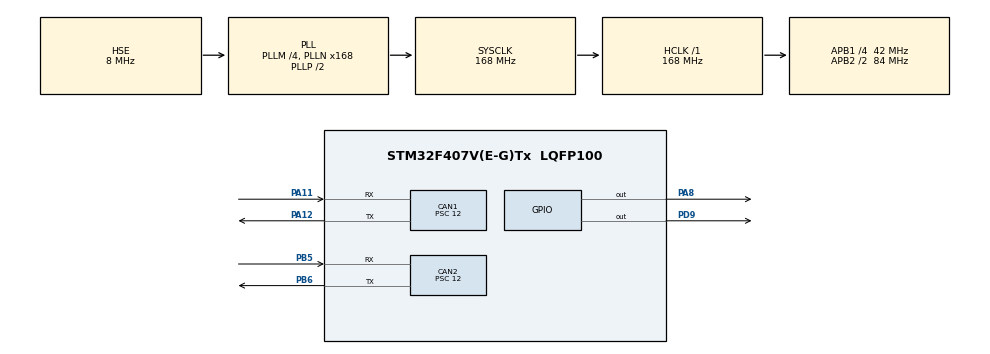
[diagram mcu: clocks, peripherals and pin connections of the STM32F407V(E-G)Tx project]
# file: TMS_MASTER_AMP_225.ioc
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CAN1.BS1=CAN_BS1_3TQ
CAN1.BS2=CAN_BS2_3TQ
CAN1.CalculateBaudRate=500000
CAN1.CalculateTimeBit=2000
CAN1.CalculateTimeQuantum=285.7142857142857
CAN1.Prescaler=12
CAN2.BS1=CAN_BS1_3TQ
CAN2.BS2=CAN_BS2_3TQ
CAN2.CalculateBaudRate=500000
CAN2.CalculateTimeBit=2000
CAN2.CalculateTimeQuantum=285.7142857142857
CAN2.Prescaler=12
Mcu.Family=STM32F4
Mcu.Name=STM32F407V(E-G)Tx
Mcu.Package=LQFP100
NVIC.CAN1_RX0_IRQn=true\:0\:0\:false\:false\:true\:true\:true\:true
NVIC.CAN2_TX_IRQn=true\:0\:0\:false\:false\:true\:true\:true\:true
NVIC.PriorityGroup=NVIC_PRIORITYGROUP_4
PA11.Mode=CAN_Activate
PA11.Signal=CAN1_RX
PA12.Mode=CAN_Activate
PA12.Signal=CAN1_TX
PA13.Mode=Serial_Wire
PA13.Signal=SYS_JTMS-SWDIO
PA14.Mode=Serial_Wire
PA14.Signal=SYS_JTCK-SWCLK
PA8.Signal=GPIO_Output
PB5.Mode=CAN_Activate
PB5.Signal=CAN2_RX
PB6.Mode=CAN_Activate
PB6.Signal=CAN2_TX
PC14-OSC32_IN.Mode=LSE-External-Oscillator
PC14-OSC32_IN.Signal=RCC_OSC32_IN
PC15-OSC32_OUT.Mode=LSE-External-Oscillator
PC15-OSC32_OUT.Signal=RCC_OSC32_OUT
PD9.Signal=GPIO_Output
PH0-OSC_IN.Mode=HSE-External-Oscillator
PH0-OSC_IN.Signal=RCC_OSC_IN
PH1-OSC_OUT.Mode=HSE-External-Oscillator
PH1-OSC_OUT.Signal=RCC_OSC_OUT
ProjectManager.HeapSize=0x200
ProjectManager.StackSize=0x400
ProjectManager.TargetToolchain=STM32CubeIDE
RCC.48MHZClocksFreq_Value=84000000
RCC.AHBFreq_Value=168000000
RCC.APB1CLKDivider=RCC_HCLK_DIV4
RCC.APB1Freq_Value=42000000
RCC.APB1TimFreq_Value=84000000
RCC.APB2CLKDivider=RCC_HCLK_DIV2
RCC.APB2Freq_Value=84000000
RCC.APB2TimFreq_Value=168000000
RCC.CortexFreq_Value=168000000
RCC.HCLKFreq_Value=168000000
RCC.HSE_VALUE=8000000
RCC.HSI_VALUE=16000000
RCC.PLLM=4
RCC.PLLN=168
RCC.PLLSourceVirtual=RCC_PLLSOURCE_HSE
RCC.SYSCLKFreq_VALUE=168000000
RCC.SYSCLKSource=RCC_SYSCLKSOURCE_PLLCLK
RCC.VCOOutputFreq_Value=336000000
TIM3.AutoReloadPreload=TIM_AUTORELOAD_PRELOAD_ENABLE
TIM3.Period=1000
TIM3.Prescaler=4200
VP_TIM3_VS_ClockSourceINT.Mode=Internal
board=custom

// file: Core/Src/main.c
/* USER CODE BEGIN Header */
/**
  ******************************************************************************
  * @file           : main.c
  * @brief          : Main program body
  ******************************************************************************
  * @attention
  *
  * Copyright (c) 2025 STMicroelectronics.
  * All rights reserved.
  *
  * This software is licensed under terms that can be found in the LICENSE file
  * in the root directory of this software component.
  * If no LICENSE file comes with this software, it is provided AS-IS.
  *
  ******************************************************************************
  */
/* USER CODE END Header */
#include "main.h"

/* USER CODE BEGIN PD */
#define heartbeatID 0x1
#define connectionFail1 1
#define connectionFail2 2
#define connectionFail3 3
#define connectionFail4 4
#define tempFail 5
#define commTimeOut 1000
#define commFail 6
/* USER CODE END PD */

CAN_HandleTypeDef hcan1;
CAN_HandleTypeDef hcan2;

TIM_HandleTypeDef htim3;

/* USER CODE BEGIN PV */
float tempBuffer[4];
float maxTemp = 0;
int timerFlag = 0, fail = 0;
uint32_t lastHeartbeatTime1 = 0, lastHeartbeatTime2 = 0, lastHeartbeatTime3 = 0, lastHeartbeatTime4 = 0;
/* USER CODE END PV */

void SystemClock_Config(void);
static void MX_GPIO_Init(void);
static void MX_CAN1_Init(void);
static void MX_CAN2_Init(void);
static void MX_TIM3_Init(void);
/* USER CODE BEGIN PFP */
float maxVal(float *buffer, int size);
void checkTemp(void);
void HAL_TIM_PeriodElapsedCallback(TIM_HandleTypeDef *htim);
void HAL_CAN_RxFifo0MsgPendingCallback(CAN_HandleTypeDef *hcan);
void checkCommunication(void);
/* USER CODE END PFP */

/* USER CODE BEGIN 0 */
/*CAN1 CONFIGURATION*/ //CAN 1 COMUNICA COM AS SLAVES

CAN_TxHeaderTypeDef tx1Header;
CAN_RxHeaderTypeDef rx1Header;
uint32_t tx1Mailbox;
uint8_t tx1Data[1];
uint8_t rx1Data[8];

/*CAN2 CONFIGURATION*/ //CAN 2 COMUNICA COM O PWT

CAN_TxHeaderTypeDef tx2Header;
uint32_t tx2Mailbox;
uint8_t tx2Data[2];

/* USER CODE END 0 */

int main(void)
{

  /* MCU Configuration--------------------------------------------------------*/

  /* Reset of all peripherals, Initializes the Flash interface and the Systick. */
  HAL_Init();

  /* Configure the system clock */
  SystemClock_Config();

  /* Initialize all configured peripherals */
  MX_GPIO_Init();
  MX_CAN1_Init();
  MX_CAN2_Init();
  MX_TIM3_Init();
  /* USER CODE BEGIN 2 */
  /*CAN1 CONFIGURATION*/

   HAL_CAN_Start(&hcan1);

   tx1Header.DLC = 1;
   tx1Header.ExtId = 0;
   tx1Header.IDE = CAN_ID_STD;
   tx1Header.RTR = CAN_RTR_DATA;
   tx1Header.StdId = heartbeatID;
   tx1Header.TransmitGlobalTime = DISABLE;

    tx1Data[0] = 0x1;

  /*CAN2 CONFIGURATION*/

  HAL_CAN_Start(&hcan2);

  tx2Header.DLC = 2;
  tx2Header.ExtId = 0;
  tx2Header.IDE = CAN_ID_STD;
  tx2Header.RTR = CAN_RTR_DATA;
  tx2Header.StdId = 0x40;
  tx2Header.TransmitGlobalTime = DISABLE;

   tx2Data[0] = 0x0;
   tx2Data[1] = 0x0;

  /* USER CODE END 2 */

  /* Infinite loop */
  while (1)
  {

    /* USER CODE BEGIN 3 */
	  checkTemp();
	  if(timerFlag == 1){
		  tx2Data[0] = (uint8_t)maxTemp;
		  tx2Data[1] = fail;
		  checkCommunication();
		  timerFlag = 0;
	  }
  }
  /* USER CODE END 3 */
}

void SystemClock_Config(void)
{
  RCC_OscInitTypeDef RCC_OscInitStruct = {0};
  RCC_ClkInitTypeDef RCC_ClkInitStruct = {0};

  /** Configure the main internal regulator output voltage
  */
  __HAL_RCC_PWR_CLK_ENABLE();
  __HAL_PWR_VOLTAGESCALING_CONFIG(PWR_REGULATOR_VOLTAGE_SCALE1);

  /** Initializes the RCC Oscillators according to the specified parameters
  * in the RCC_OscInitTypeDef structure.
  */
  RCC_OscInitStruct.OscillatorType = RCC_OSCILLATORTYPE_HSE;
  RCC_OscInitStruct.HSEState = RCC_HSE_ON;
  RCC_OscInitStruct.PLL.PLLState = RCC_PLL_ON;
  RCC_OscInitStruct.PLL.PLLSource = RCC_PLLSOURCE_HSE;
  RCC_OscInitStruct.PLL.PLLM = 4;
  RCC_OscInitStruct.PLL.PLLN = 168;
  RCC_OscInitStruct.PLL.PLLP = RCC_PLLP_DIV2;
  RCC_OscInitStruct.PLL.PLLQ = 4;
  if (HAL_RCC_OscConfig(&RCC_OscInitStruct) != HAL_OK)
  {
    Error_Handler();
  }

  /** Initializes the CPU, AHB and APB buses clocks
  */
  RCC_ClkInitStruct.ClockType = RCC_CLOCKTYPE_HCLK|RCC_CLOCKTYPE_SYSCLK
                              |RCC_CLOCKTYPE_PCLK1|RCC_CLOCKTYPE_PCLK2;
  RCC_ClkInitStruct.SYSCLKSource = RCC_SYSCLKSOURCE_PLLCLK;
  RCC_ClkInitStruct.AHBCLKDivider = RCC_SYSCLK_DIV1;
  RCC_ClkInitStruct.APB1CLKDivider = RCC_HCLK_DIV4;
  RCC_ClkInitStruct.APB2CLKDivider = RCC_HCLK_DIV2;

  if (HAL_RCC_ClockConfig(&RCC_ClkInitStruct, FLASH_LATENCY_5) != HAL_OK)
  {
    Error_Handler();
  }
}

static void MX_CAN1_Init(void)
{

  hcan1.Instance = CAN1;
  hcan1.Init.Prescaler = 12;
  hcan1.Init.Mode = CAN_MODE_NORMAL;
  hcan1.Init.SyncJumpWidth = CAN_SJW_1TQ;
  hcan1.Init.TimeSeg1 = CAN_BS1_3TQ;
  hcan1.Init.TimeSeg2 = CAN_BS2_3TQ;
  hcan1.Init.TimeTriggeredMode = DISABLE;
  hcan1.Init.AutoBusOff = DISABLE;
  hcan1.Init.AutoWakeUp = DISABLE;
  hcan1.Init.AutoRetransmission = DISABLE;
  hcan1.Init.ReceiveFifoLocked = DISABLE;
  hcan1.Init.TransmitFifoPriority = DISABLE;
  if (HAL_CAN_Init(&hcan1) != HAL_OK)
  {
    Error_Handler();
  }
  /* USER CODE BEGIN CAN1_Init 2 */
  CAN_FilterTypeDef canfilterconfig;
  canfilterconfig.FilterActivation = CAN_FILTER_ENABLE;
  canfilterconfig.FilterBank = 10;
  canfilterconfig.FilterFIFOAssignment = CAN_RX_FIFO0;
  canfilterconfig.FilterIdHigh = 0x00<<5;
  canfilterconfig.FilterIdLow = 0x0000;
  canfilterconfig.FilterMaskIdHigh = 0xF8<<5;
  canfilterconfig.FilterMaskIdLow = 0x0000;
  canfilterconfig.FilterMode = CAN_FILTERMODE_IDMASK;
  canfilterconfig.FilterScale = CAN_FILTERSCALE_32BIT;
  canfilterconfig.SlaveStartFilterBank = 0;

  HAL_CAN_ConfigFilter(&hcan1, &canfilterconfig);
  HAL_CAN_ActivateNotification(&hcan1, CAN_IT_RX_FIFO0_MSG_PENDING);

  /* USER CODE END CAN1_Init 2 */

}

static void MX_CAN2_Init(void)
{

  hcan2.Instance = CAN2;
  hcan2.Init.Prescaler = 12;
  hcan2.Init.Mode = CAN_MODE_NORMAL;
  hcan2.Init.SyncJumpWidth = CAN_SJW_1TQ;
  hcan2.Init.TimeSeg1 = CAN_BS1_3TQ;
  hcan2.Init.TimeSeg2 = CAN_BS2_3TQ;
  hcan2.Init.TimeTriggeredMode = DISABLE;
  hcan2.Init.AutoBusOff = DISABLE;
  hcan2.Init.AutoWakeUp = DISABLE;
  hcan2.Init.AutoRetransmission = DISABLE;
  hcan2.Init.ReceiveFifoLocked = DISABLE;
  hcan2.Init.TransmitFifoPriority = DISABLE;
  if (HAL_CAN_Init(&hcan2) != HAL_OK)
  {
    Error_Handler();
  }
  /* USER CODE BEGIN CAN2_Init 2 */
  CAN_FilterTypeDef canfilterconfig;
  canfilterconfig.FilterActivation = CAN_FILTER_ENABLE;
  canfilterconfig.FilterBank = 14;
  canfilterconfig.FilterFIFOAssignment = CAN_RX_FIFO1;
  canfilterconfig.FilterIdHigh = 0x00<<5;
  canfilterconfig.FilterIdLow = 0x0000;
  canfilterconfig.FilterMaskIdHigh = 0x7FF<<5;
  canfilterconfig.FilterMaskIdLow = 0x0000;
  canfilterconfig.FilterMode = CAN_FILTERMODE_IDMASK;
  canfilterconfig.FilterScale = CAN_FILTERSCALE_32BIT;
  canfilterconfig.SlaveStartFilterBank = 0;

   HAL_CAN_ConfigFilter(&hcan2, &canfilterconfig);
  /* USER CODE END CAN2_Init 2 */

}

static void MX_TIM3_Init(void)
{

  TIM_ClockConfigTypeDef sClockSourceConfig = {0};
  TIM_MasterConfigTypeDef sMasterConfig = {0};

  htim3.Instance = TIM3;
  htim3.Init.Prescaler = 4200;
  htim3.Init.CounterMode = TIM_COUNTERMODE_UP;
  htim3.Init.Period = 1000;
  htim3.Init.ClockDivision = TIM_CLOCKDIVISION_DIV1;
  htim3.Init.AutoReloadPreload = TIM_AUTORELOAD_PRELOAD_ENABLE;
  if (HAL_TIM_Base_Init(&htim3) != HAL_OK)
  {
    Error_Handler();
  }
  sClockSourceConfig.ClockSource = TIM_CLOCKSOURCE_INTERNAL;
  if (HAL_TIM_ConfigClockSource(&htim3, &sClockSourceConfig) != HAL_OK)
  {
    Error_Handler();
  }
  sMasterConfig.MasterOutputTrigger = TIM_TRGO_RESET;
  sMasterConfig.MasterSlaveMode = TIM_MASTERSLAVEMODE_DISABLE;
  if (HAL_TIMEx_MasterConfigSynchronization(&htim3, &sMasterConfig) != HAL_OK)
  {
    Error_Handler();
  }

}

static void MX_GPIO_Init(void)
{
  GPIO_InitTypeDef GPIO_InitStruct = {0};

  /* GPIO Ports Clock Enable */
  __HAL_RCC_GPIOC_CLK_ENABLE();
  __HAL_RCC_GPIOH_CLK_ENABLE();
  __HAL_RCC_GPIOD_CLK_ENABLE();
  __HAL_RCC_GPIOA_CLK_ENABLE();
  __HAL_RCC_GPIOB_CLK_ENABLE();

  /*Configure GPIO pin Output Level */
  HAL_GPIO_WritePin(GPIOD, GPIO_PIN_9, GPIO_PIN_RESET);

  /*Configure GPIO pin Output Level */
  HAL_GPIO_WritePin(GPIOA, GPIO_PIN_8, GPIO_PIN_RESET);

  /*Configure GPIO pin : PD9 */
  GPIO_InitStruct.Pin = GPIO_PIN_9;
  GPIO_InitStruct.Mode = GPIO_MODE_OUTPUT_PP;
  GPIO_InitStruct.Pull = GPIO_NOPULL;
  GPIO_InitStruct.Speed = GPIO_SPEED_FREQ_LOW;
  HAL_GPIO_Init(GPIOD, &GPIO_InitStruct);

  /*Configure GPIO pin : PA8 */
  GPIO_InitStruct.Pin = GPIO_PIN_8;
  GPIO_InitStruct.Mode = GPIO_MODE_OUTPUT_PP;
  GPIO_InitStruct.Pull = GPIO_NOPULL;
  GPIO_InitStruct.Speed = GPIO_SPEED_FREQ_LOW;
  HAL_GPIO_Init(GPIOA, &GPIO_InitStruct);

}

/* USER CODE BEGIN 4 */
void HAL_CAN_RxFifo0MsgPendingCallback(CAN_HandleTypeDef *hcan){
	if(HAL_CAN_GetRxMessage(hcan, CAN_RX_FIFO0, &rx1Header, rx1Data)==HAL_OK){
		switch(rx1Header.StdId)
		{
		case 0x1:
			tempBuffer[0] = ((rx1Data[0]) | (rx1Data[1] << 8)) / 10;
			lastHeartbeatTime1 = HAL_GetTick();
			break;
		case 0x2:
			tempBuffer[1] = ((rx1Data[0]) | (rx1Data[1] << 8)) / 10;
			lastHeartbeatTime2 = HAL_GetTick();
			break;
		case 0x3:
			tempBuffer[2] = ((rx1Data[0]) | (rx1Data[1] << 8)) / 10;
			lastHeartbeatTime3 = HAL_GetTick();
			break;
		case 0x4:
			tempBuffer[3] = ((rx1Data[0]) | (rx1Data[1] << 8)) / 10;
			lastHeartbeatTime4 = HAL_GetTick();
			break;
		default:
			break;
		}
	}
}
float maxVal(float *buffer, int size){
	float max = buffer[0];
	for (int i = 1; i<size; i++){
		if(buffer[i] > max){
			max = buffer[i];
		}
	}
	return max;
}
void checkTemp(void){
	maxTemp = maxVal(tempBuffer, 4);
	if(maxTemp >= 55){
		fail = tempFail;
		Error_Handler();
	}
}
void HAL_TIM_PeriodElapsedCallback(TIM_HandleTypeDef *htim){
	int count = 0;
	while(HAL_CAN_AddTxMessage(&hcan2, &tx2Header, tx2Data, &tx2Mailbox)!=HAL_OK){
		count++;
		if(count >= 20){
			fail = commFail;
			Error_Handler();
		}
	}
	timerFlag = 1;
}
void checkCommunication(void) {
	if ((HAL_GetTick() - lastHeartbeatTime1) > commTimeOut) {
		fail = connectionFail1;
		Error_Handler();
	}

	if ((HAL_GetTick() - lastHeartbeatTime2) > commTimeOut) {
		fail = connectionFail2;
		Error_Handler();
	}

	if ((HAL_GetTick() - lastHeartbeatTime3) > commTimeOut) {
		fail = connectionFail3;
		Error_Handler();
	}

	if ((HAL_GetTick() - lastHeartbeatTime4) > commTimeOut) {
		fail = connectionFail4;
		Error_Handler();
	}
}
/* USER CODE END 4 */

void Error_Handler(void)
{
  /* USER CODE BEGIN Error_Handler_Debug */
	HAL_GPIO_WritePin(GPIOD, GPIO_PIN_9, SET);
	tx2Data[1] = fail;
	HAL_CAN_AddTxMessage(&hcan2, &tx2Header, tx2Data, &tx2Mailbox);
  /* User can add his own implementation to report the HAL error return state */
  __disable_irq();
  while (1)
  {
  }
  /* USER CODE END Error_Handler_Debug */
}
